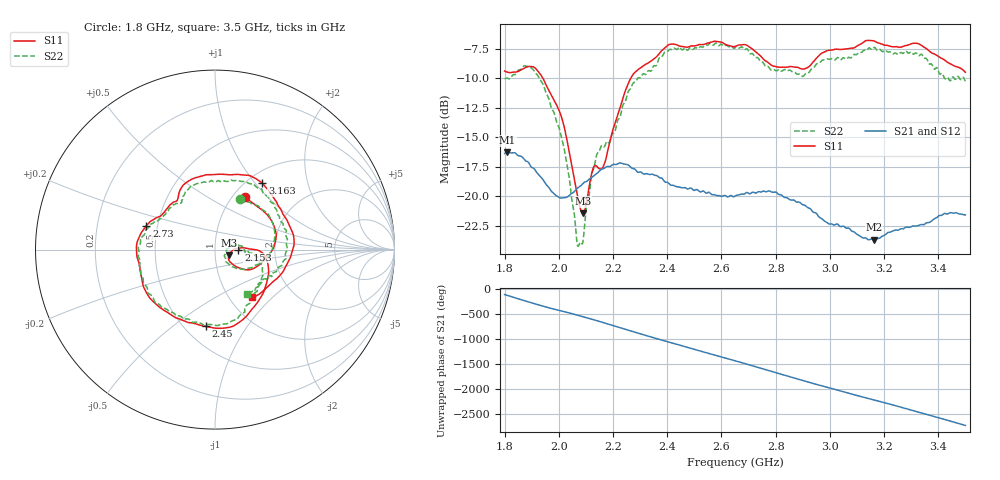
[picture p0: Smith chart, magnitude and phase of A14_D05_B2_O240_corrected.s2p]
! Created with skrf 1.9.0 (http://scikit-rf.org).
# Hz S RI R 50.0
!freq ReS11 ImS11 ReS21 ImS21 ReS12 ImS12 ReS22 ImS22
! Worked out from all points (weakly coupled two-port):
!   1601 points, 1.8 GHz to 3.5 GHz, reference 50 ohm
!   highest |S21| = -16.29 dB at 1.811 GHz (marker M1); lowest = -23.7 dB at 3.163 GHz (marker M2)
!   lowest |S11| = -21.4 dB at 2.089 GHz (marker M3), VSWR 1.18, Z = 58.4 - j3.68 ohm
!   |S11| at or under -10 dB: 1.941 GHz to 2.266 GHz (324.7 MHz wide, 15.4 % of centre)
!   |S22| runs from -24.2 to -7.0 dB; largest |S21 - S12| = 0.0029
!   S11 on the Smith chart (normalised r, x): 1.8 GHz: 1.13, +0.75; 2.153 GHz: 1.30, -0.00; 2.45 GHz: 0.63, -0.66; 2.73 GHz: 0.43, +0.14; 3.163 GHz: 1.17, +1.09; 3.5 GHz: 1.26, -0.75
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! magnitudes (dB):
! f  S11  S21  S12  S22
! 1.8 GHz  -9.4  -16.4  -16.4  -10.1
! 1.811 GHz  -9.5  -16.3  -16.3  -10.0
! 1.881 GHz  -9.1  -17.1  -17.1  -9.0
! 1.942 GHz  -10.1  -18.6  -18.6  -10.6
! 2.013 GHz  -13.5  -20.1  -20.2  -15.3
! 2.068 GHz  -19.8  -19.3  -19.4  -24.0
! 2.084 GHz  -21.3  -19.1  -19.0  -24.0
! 2.089 GHz  -21.4  -18.9  -19.0  -23.9
! 2.127 GHz  -17.6  -18.3  -18.3  -17.7
! 2.153 GHz  -17.7  -17.8  -17.8  -16.0
! 2.202 GHz  -14.2  -17.3  -17.3  -14.6
! 2.264 GHz  -10.1  -17.5  -17.5  -10.9
! 2.367 GHz  -8.0  -18.3  -18.3  -8.5
! 2.45 GHz  -7.3  -19.3  -19.3  -7.5
! 2.65 GHz  -7.3  -20.0  -20.0  -7.4
! 2.73 GHz  -7.9  -19.7  -19.7  -8.3
! 2.805 GHz  -9.1  -19.7  -19.8  -9.4
! 2.934 GHz  -8.8  -21.2  -21.2  -9.2
! 3.163 GHz  -6.9  -23.7  -23.7  -7.4
! 3.217 GHz  -7.3  -23.1  -23.0  -7.8
! 3.326 GHz  -7.1  -22.5  -22.5  -8.1
! 3.5 GHz  -9.5  -21.6  -21.6  -10.3
